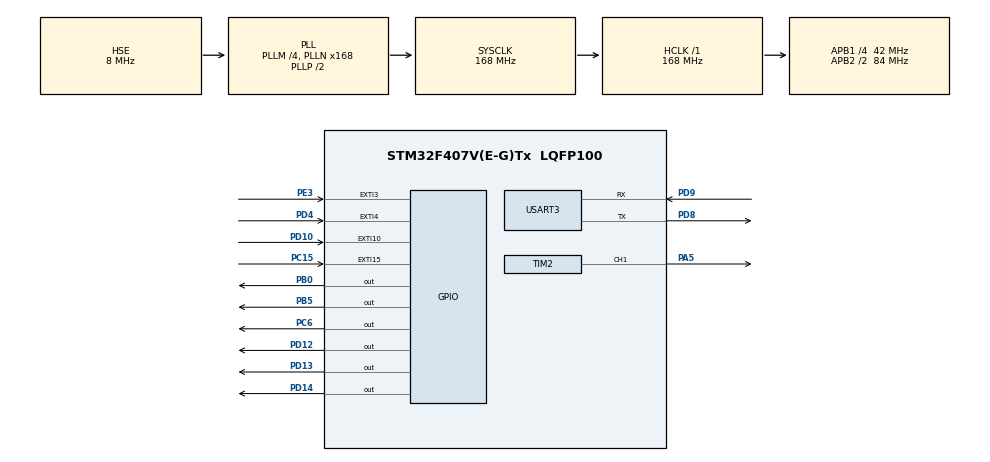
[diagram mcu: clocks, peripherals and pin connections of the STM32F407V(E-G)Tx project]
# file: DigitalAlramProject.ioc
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Mcu.Family=STM32F4
Mcu.Name=STM32F407V(E-G)Tx
Mcu.Package=LQFP100
NVIC.EXTI15_10_IRQn=true\:0\:0\:false\:true\:true\:3\:true\:true\:true
NVIC.EXTI3_IRQn=true\:0\:0\:false\:false\:true\:true\:true\:true
NVIC.EXTI4_IRQn=true\:0\:0\:false\:true\:true\:2\:true\:true\:true
NVIC.PriorityGroup=NVIC_PRIORITYGROUP_4
NVIC.TIM6_DAC_IRQn=true\:0\:0\:false\:true\:true\:4\:true\:true\:true
NVIC.USART3_IRQn=true\:0\:0\:false\:true\:true\:1\:true\:true\:true
PA5.Signal=S_TIM2_CH1_ETR
PB0.Signal=GPIO_Output
PB5.Signal=GPIO_Output
PC15-OSC32_OUT.GPIO_ModeDefaultEXTI=GPIO_MODE_IT_RISING_FALLING
PC15-OSC32_OUT.Signal=GPXTI15
PC6.GPIO_PuPd=GPIO_NOPULL
PC6.Signal=GPIO_Output
PD10.GPIO_ModeDefaultEXTI=GPIO_MODE_IT_RISING_FALLING
PD10.Signal=GPXTI10
PD12.GPIO_PuPd=GPIO_NOPULL
PD12.Signal=GPIO_Output
PD13.Signal=GPIO_Output
PD14.Signal=GPIO_Output
PD4.GPIO_ModeDefaultEXTI=GPIO_MODE_IT_RISING_FALLING
PD4.Signal=GPXTI4
PD8.Mode=Asynchronous
PD8.Signal=USART3_TX
PD9.Mode=Asynchronous
PD9.Signal=USART3_RX
PE3.GPIO_ModeDefaultEXTI=GPIO_MODE_IT_RISING_FALLING
PE3.Signal=GPXTI3
PH0-OSC_IN.Mode=HSE-External-Oscillator
PH0-OSC_IN.Signal=RCC_OSC_IN
PH1-OSC_OUT.Mode=HSE-External-Oscillator
PH1-OSC_OUT.Signal=RCC_OSC_OUT
ProjectManager.HeapSize=0x200
ProjectManager.StackSize=0x400
ProjectManager.TargetToolchain=STM32CubeIDE
RCC.48MHZClocksFreq_Value=84000000
RCC.AHBFreq_Value=168000000
RCC.APB1CLKDivider=RCC_HCLK_DIV4
RCC.APB1Freq_Value=42000000
RCC.APB1TimFreq_Value=84000000
RCC.APB2CLKDivider=RCC_HCLK_DIV2
RCC.APB2Freq_Value=84000000
RCC.APB2TimFreq_Value=168000000
RCC.CortexFreq_Value=168000000
RCC.HCLKFreq_Value=168000000
RCC.HSE_VALUE=8000000
RCC.HSI_VALUE=16000000
RCC.LSE_VALUE=32768
RCC.PLLM=4
RCC.PLLN=168
RCC.PLLSourceVirtual=RCC_PLLSOURCE_HSE
RCC.SYSCLKFreq_VALUE=168000000
RCC.SYSCLKSource=RCC_SYSCLKSOURCE_PLLCLK
RCC.VCOOutputFreq_Value=336000000
SH.S_TIM2_CH1_ETR.0=TIM2_CH1,PWM Generation1 CH1
TIM2.Channel-PWM\ Generation1\ CH1=TIM_CHANNEL_1
TIM2.Period=9
TIM2.Prescaler=41999
TIM6.AutoReloadPreload=TIM_AUTORELOAD_PRELOAD_ENABLE
TIM6.Period=839
TIM6.Prescaler=99
USART3.VirtualMode=VM_ASYNC
VP_TIM2_VS_ClockSourceINT.Mode=Internal
VP_TIM6_VS_ClockSourceINT.Mode=Enable_Timer
board=custom

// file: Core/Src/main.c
/* USER CODE BEGIN Header */
/**
  ******************************************************************************
  * @file           : main.c
  * @brief          : Main program body
  ******************************************************************************
  * @attention
  *
  * Copyright (c) 2024 STMicroelectronics.
  * All rights reserved.
  *
  * This software is licensed under terms that can be found in the LICENSE file
  * in the root directory of this software component.
  * If no LICENSE file comes with this software, it is provided AS-IS.
  *
  ******************************************************************************
  */
/* USER CODE END Header */

#include "main.h"

/* USER CODE BEGIN Includes */
#include "swControll.h"
#include "uartLEDControll.h"
#include "stopWatch.h"
#include "buzzer.h"
#include "clock.h"
#include "alarm.h"
#include "7SEG.h"
#include "CLCD.h"
/* USER CODE END Includes */

TIM_HandleTypeDef htim2;
TIM_HandleTypeDef htim6;

UART_HandleTypeDef huart3;

/* USER CODE BEGIN PV */
extern uartRx uartRxfd;
extern uint8_t select_LED;
extern modeSelector mode;
system sys = {0, 0, 0};
button sw1;
button sw2;
button sw3;
button sw4;
clockSt clock = {Y, M, D, H, MIN, SEC, 0, 0, 0, 0, 0};
stopWatch stopwatch = {0, STOP, {0, 0, 0, 0}};

/* USER CODE END PV */

void SystemClock_Config(void);
static void MX_GPIO_Init(void);
static void MX_USART3_UART_Init(void);
static void MX_TIM6_Init(void);
static void MX_TIM2_Init(void);
static void MX_NVIC_Init(void);

int main(void)
{

  /* MCU Configuration--------------------------------------------------------*/

  /* Reset of all peripherals, Initializes the Flash interface and the Systick. */
  HAL_Init();

  /* Configure the system clock */
  SystemClock_Config();

  /* USER CODE BEGIN SysInit */
  clock.leapYear = leapYearCalculator(Y);// 시스템 시작 시 초기 설정된 년이 윤년인지 확인
  clock.thiryMonth = isThirtyDays(M); 	// 시스템 시작 시 초기 설정된 달을 넣어서 말일이 30일인지 아닌지 확인
  CLCD_GPIO_Init();
  CLCD_Init();
  _7SEG_GPIO_Init();
  /* USER CODE END SysInit */

  /* Initialize all configured peripherals */
  MX_GPIO_Init();
  MX_USART3_UART_Init();
  MX_TIM6_Init();
  MX_TIM2_Init();

  /* Initialize interrupts */
  MX_NVIC_Init();
  /* USER CODE BEGIN 2 */
  // UART call
  HAL_UART_Receive_IT(&huart3, &uartRxfd.uart3_rx_data, sizeof(uartRxfd.uart3_rx_data));
  HAL_TIM_Base_Start_IT(&htim6);

  TIM2 -> CCR1 = TIM2 -> ARR / 2;

  HAL_GPIO_WritePin(GPIOD, GPIO_PIN_12, 1);
  HAL_GPIO_WritePin(GPIOC, GPIO_PIN_6, 1);
  HAL_GPIO_WritePin(GPIOD, GPIO_PIN_13, 1);
  HAL_GPIO_WritePin(GPIOB, GPIO_PIN_5, 1);
  HAL_GPIO_WritePin(GPIOD, GPIO_PIN_14, 1);
  HAL_GPIO_WritePin(GPIOB, GPIO_PIN_0, 1);

//  CLCD_Puts(0, 0, CLCD_DEFAULT);
//  CLCD_Puts(0, 0, "   0 700 2500  0");
  /* USER CODE END 2 */

  /* Infinite loop */
  /* USER CODE BEGIN WHILE */
  while (1)
  {
	  running();
	  sw1Controll();
	  sw2Controll();
	  sw3Controll();
	  sw4Controll();

    /* USER CODE END WHILE */

  }
}

void SystemClock_Config(void)
{
  RCC_OscInitTypeDef RCC_OscInitStruct = {0};
  RCC_ClkInitTypeDef RCC_ClkInitStruct = {0};

  /** Configure the main internal regulator output voltage
  */
  __HAL_RCC_PWR_CLK_ENABLE();
  __HAL_PWR_VOLTAGESCALING_CONFIG(PWR_REGULATOR_VOLTAGE_SCALE1);

  /** Initializes the RCC Oscillators according to the specified parameters
  * in the RCC_OscInitTypeDef structure.
  */
  RCC_OscInitStruct.OscillatorType = RCC_OSCILLATORTYPE_HSE;
  RCC_OscInitStruct.HSEState = RCC_HSE_ON;
  RCC_OscInitStruct.PLL.PLLState = RCC_PLL_ON;
  RCC_OscInitStruct.PLL.PLLSource = RCC_PLLSOURCE_HSE;
  RCC_OscInitStruct.PLL.PLLM = 4;
  RCC_OscInitStruct.PLL.PLLN = 168;
  RCC_OscInitStruct.PLL.PLLP = RCC_PLLP_DIV2;
  RCC_OscInitStruct.PLL.PLLQ = 4;
  if (HAL_RCC_OscConfig(&RCC_OscInitStruct) != HAL_OK)
  {
    Error_Handler();
  }

  /** Initializes the CPU, AHB and APB buses clocks
  */
  RCC_ClkInitStruct.ClockType = RCC_CLOCKTYPE_HCLK|RCC_CLOCKTYPE_SYSCLK
                              |RCC_CLOCKTYPE_PCLK1|RCC_CLOCKTYPE_PCLK2;
  RCC_ClkInitStruct.SYSCLKSource = RCC_SYSCLKSOURCE_PLLCLK;
  RCC_ClkInitStruct.AHBCLKDivider = RCC_SYSCLK_DIV1;
  RCC_ClkInitStruct.APB1CLKDivider = RCC_HCLK_DIV4;
  RCC_ClkInitStruct.APB2CLKDivider = RCC_HCLK_DIV2;

  if (HAL_RCC_ClockConfig(&RCC_ClkInitStruct, FLASH_LATENCY_5) != HAL_OK)
  {
    Error_Handler();
  }
}

/**
  * @brief NVIC Configuration.
  * @retval None
  */
static void MX_NVIC_Init(void)
{
  /* USART3_IRQn interrupt configuration */
  HAL_NVIC_SetPriority(USART3_IRQn, 0, 0);
  HAL_NVIC_EnableIRQ(USART3_IRQn);
  /* EXTI4_IRQn interrupt configuration */
  HAL_NVIC_SetPriority(EXTI4_IRQn, 0, 0);
  HAL_NVIC_EnableIRQ(EXTI4_IRQn);
  /* EXTI15_10_IRQn interrupt configuration */
  HAL_NVIC_SetPriority(EXTI15_10_IRQn, 0, 0);
  HAL_NVIC_EnableIRQ(EXTI15_10_IRQn);
  /* TIM6_DAC_IRQn interrupt configuration */
  HAL_NVIC_SetPriority(TIM6_DAC_IRQn, 0, 0);
  HAL_NVIC_EnableIRQ(TIM6_DAC_IRQn);
}

static void MX_TIM2_Init(void)
{

  TIM_ClockConfigTypeDef sClockSourceConfig = {0};
  TIM_MasterConfigTypeDef sMasterConfig = {0};
  TIM_OC_InitTypeDef sConfigOC = {0};

  htim2.Instance = TIM2;
  htim2.Init.Prescaler = 41999;
  htim2.Init.CounterMode = TIM_COUNTERMODE_UP;
  htim2.Init.Period = 9;
  htim2.Init.ClockDivision = TIM_CLOCKDIVISION_DIV1;
  htim2.Init.AutoReloadPreload = TIM_AUTORELOAD_PRELOAD_DISABLE;
  if (HAL_TIM_Base_Init(&htim2) != HAL_OK)
  {
    Error_Handler();
  }
  sClockSourceConfig.ClockSource = TIM_CLOCKSOURCE_INTERNAL;
  if (HAL_TIM_ConfigClockSource(&htim2, &sClockSourceConfig) != HAL_OK)
  {
    Error_Handler();
  }
  if (HAL_TIM_PWM_Init(&htim2) != HAL_OK)
  {
    Error_Handler();
  }
  sMasterConfig.MasterOutputTrigger = TIM_TRGO_RESET;
  sMasterConfig.MasterSlaveMode = TIM_MASTERSLAVEMODE_DISABLE;
  if (HAL_TIMEx_MasterConfigSynchronization(&htim2, &sMasterConfig) != HAL_OK)
  {
    Error_Handler();
  }
  sConfigOC.OCMode = TIM_OCMODE_PWM1;
  sConfigOC.Pulse = 0;
  sConfigOC.OCPolarity = TIM_OCPOLARITY_HIGH;
  sConfigOC.OCFastMode = TIM_OCFAST_DISABLE;
  if (HAL_TIM_PWM_ConfigChannel(&htim2, &sConfigOC, TIM_CHANNEL_1) != HAL_OK)
  {
    Error_Handler();
  }
  HAL_TIM_MspPostInit(&htim2);

}

static void MX_TIM6_Init(void)
{

  TIM_MasterConfigTypeDef sMasterConfig = {0};

  htim6.Instance = TIM6;
  htim6.Init.Prescaler = 99;
  htim6.Init.CounterMode = TIM_COUNTERMODE_UP;
  htim6.Init.Period = 839;
  htim6.Init.AutoReloadPreload = TIM_AUTORELOAD_PRELOAD_ENABLE;
  if (HAL_TIM_Base_Init(&htim6) != HAL_OK)
  {
    Error_Handler();
  }
  sMasterConfig.MasterOutputTrigger = TIM_TRGO_RESET;
  sMasterConfig.MasterSlaveMode = TIM_MASTERSLAVEMODE_DISABLE;
  if (HAL_TIMEx_MasterConfigSynchronization(&htim6, &sMasterConfig) != HAL_OK)
  {
    Error_Handler();
  }

}

static void MX_USART3_UART_Init(void)
{

  huart3.Instance = USART3;
  huart3.Init.BaudRate = 115200;
  huart3.Init.WordLength = UART_WORDLENGTH_8B;
  huart3.Init.StopBits = UART_STOPBITS_1;
  huart3.Init.Parity = UART_PARITY_NONE;
  huart3.Init.Mode = UART_MODE_TX_RX;
  huart3.Init.HwFlowCtl = UART_HWCONTROL_NONE;
  huart3.Init.OverSampling = UART_OVERSAMPLING_16;
  if (HAL_UART_Init(&huart3) != HAL_OK)
  {
    Error_Handler();
  }

}

static void MX_GPIO_Init(void)
{
  GPIO_InitTypeDef GPIO_InitStruct = {0};

  /* GPIO Ports Clock Enable */
  __HAL_RCC_GPIOE_CLK_ENABLE();
  __HAL_RCC_GPIOC_CLK_ENABLE();
  __HAL_RCC_GPIOH_CLK_ENABLE();
  __HAL_RCC_GPIOA_CLK_ENABLE();
  __HAL_RCC_GPIOB_CLK_ENABLE();
  __HAL_RCC_GPIOD_CLK_ENABLE();

  /*Configure GPIO pin Output Level */
  HAL_GPIO_WritePin(GPIOB, GPIO_PIN_0|GPIO_PIN_5, GPIO_PIN_RESET);

  /*Configure GPIO pin Output Level */
  HAL_GPIO_WritePin(GPIOD, GPIO_PIN_12|GPIO_PIN_13|GPIO_PIN_14, GPIO_PIN_RESET);

  /*Configure GPIO pin Output Level */
  HAL_GPIO_WritePin(GPIOC, GPIO_PIN_6, GPIO_PIN_RESET);

  /*Configure GPIO pin : PE3 */
  GPIO_InitStruct.Pin = GPIO_PIN_3;
  GPIO_InitStruct.Mode = GPIO_MODE_IT_RISING_FALLING;
  GPIO_InitStruct.Pull = GPIO_NOPULL;
  HAL_GPIO_Init(GPIOE, &GPIO_InitStruct);

  /*Configure GPIO pin : PC15 */
  GPIO_InitStruct.Pin = GPIO_PIN_15;
  GPIO_InitStruct.Mode = GPIO_MODE_IT_RISING_FALLING;
  GPIO_InitStruct.Pull = GPIO_NOPULL;
  HAL_GPIO_Init(GPIOC, &GPIO_InitStruct);

  /*Configure GPIO pins : PB0 PB5 */
  GPIO_InitStruct.Pin = GPIO_PIN_0|GPIO_PIN_5;
  GPIO_InitStruct.Mode = GPIO_MODE_OUTPUT_PP;
  GPIO_InitStruct.Pull = GPIO_NOPULL;
  GPIO_InitStruct.Speed = GPIO_SPEED_FREQ_LOW;
  HAL_GPIO_Init(GPIOB, &GPIO_InitStruct);

  /*Configure GPIO pins : PD10 PD4 */
  GPIO_InitStruct.Pin = GPIO_PIN_10|GPIO_PIN_4;
  GPIO_InitStruct.Mode = GPIO_MODE_IT_RISING_FALLING;
  GPIO_InitStruct.Pull = GPIO_NOPULL;
  HAL_GPIO_Init(GPIOD, &GPIO_InitStruct);

  /*Configure GPIO pins : PD12 PD13 PD14 */
  GPIO_InitStruct.Pin = GPIO_PIN_12|GPIO_PIN_13|GPIO_PIN_14;
  GPIO_InitStruct.Mode = GPIO_MODE_OUTPUT_PP;
  GPIO_InitStruct.Pull = GPIO_NOPULL;
  GPIO_InitStruct.Speed = GPIO_SPEED_FREQ_LOW;
  HAL_GPIO_Init(GPIOD, &GPIO_InitStruct);

  /*Configure GPIO pin : PC6 */
  GPIO_InitStruct.Pin = GPIO_PIN_6;
  GPIO_InitStruct.Mode = GPIO_MODE_OUTPUT_PP;
  GPIO_InitStruct.Pull = GPIO_NOPULL;
  GPIO_InitStruct.Speed = GPIO_SPEED_FREQ_LOW;
  HAL_GPIO_Init(GPIOC, &GPIO_InitStruct);

  /* EXTI interrupt init*/
  HAL_NVIC_SetPriority(EXTI3_IRQn, 0, 0);
  HAL_NVIC_EnableIRQ(EXTI3_IRQn);

}

/* USER CODE BEGIN 4 */
void HAL_UART_RxCpltCallback(UART_HandleTypeDef *huart)
{
  if(huart -> Instance == USART3) {
	  HAL_UART_Receive_IT(&huart3, &uartRxfd.uart3_rx_data, sizeof(uartRxfd.uart3_rx_data));
	  uartRxfd.uart3_rx_flag = 1;
  }
}

void HAL_TIM_PeriodElapsedCallback(TIM_HandleTypeDef *htim)
{
	if(htim->Instance == TIM6) {
		systemMillisecondCount();
		blinking();
		stopwatchTime(); 	// 스탑워치 시간 카운트
		holdEvent();		// presstime 측정
		startClock(); 		// 시계모드 시간 카운트
		switchClockMode(); 	// 시계모드 -> 시계설정모드 | 시계설정모드 -> 시계모드 전환
		switchAlarmMode();	// 알람모드 -> 알람설정모드 | 알람설정모드 -> 알람모드 전환
		buzOnOff();
		waitingTimeCnt();
		alarmTrigger();		// 알람 울림
	}

}

void HAL_GPIO_EXTI_Callback(uint16_t GPIO_Pin)
{
	if(GPIO_Pin == GPIO_PIN_3 && HAL_GPIO_ReadPin(GPIOE, GPIO_PIN_3)) {
		sw1.state = 1;
	} else {
		sw1.state = 0;
	}

	if(GPIO_Pin == GPIO_PIN_15 && HAL_GPIO_ReadPin(GPIOC, GPIO_PIN_15)) {
		sw2.state = 1;
		if(mode == STOPWATCH) {
			stopwatch.onOffState = !stopwatch.onOffState;
		}

	} else {
		sw2.state = 0;
	}
	if(GPIO_Pin == GPIO_PIN_4 && HAL_GPIO_ReadPin(GPIOD, GPIO_PIN_4)) {
		sw3.state = 1;
	} else {
		sw3.state = 0;
	}
	if(GPIO_Pin == GPIO_PIN_10 && HAL_GPIO_ReadPin(GPIOD, GPIO_PIN_10)) {
		sw4.state = 1;
	} else {
		sw4.state = 0;
	}

}

/* USER CODE END 4 */

void Error_Handler(void)
{
  __disable_irq();
  while (1)
  {
  }
}
